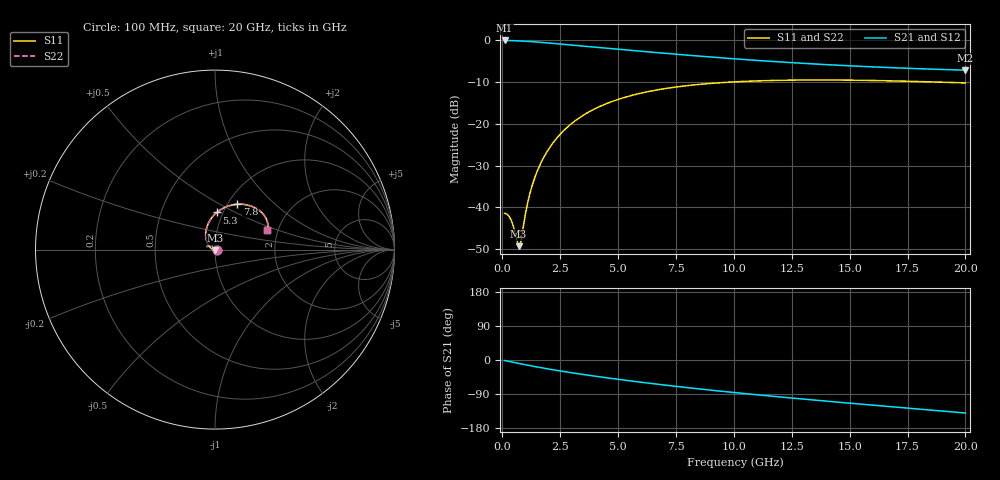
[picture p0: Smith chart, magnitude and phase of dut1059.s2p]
! Touchstone file exported from HFSS 2024.1.0
!  File:  C:/UserFiles/LocalFiles/RDL_TSV_Batchsim/temp_RDL_TSV_1059_1780090363.aedt
!  Generated:  05:47:25 AM May 30, 2026
!  Design:  RDL_TSV
!  Project:  temp_RDL_TSV_1059_1780090363
!  Setup:  Setup1
!  Solution:  Sweep
! Variables:
!  dtsv = 7.1um
!  hbump = 3um
!  htsv = 89.68um
!  ldown = 273.42um
!  lrdl = 216.85um
!  p = 40
!  p1 = 56.28um
!  rhole = 10um
!  subl = 1687.66um
!  t = 450um
!  tdown = 3.49um
!  trdl = 3.53um
!  viad = 10um
!  wdown = 22.98um
!  wrdl = 27.62um
!  xbump = 18um
# GHz S MA R 50.000000
! Terminal data exported
! Port[1] = TM1_1_T1
! Port[2] = TM1_4_T1
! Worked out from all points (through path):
!   200 points, 100 MHz to 20 GHz, reference 50 ohm
!   highest |S21| = -0.08 dB at 100 MHz (marker M1); lowest = -7.2 dB at 20 GHz (marker M2)
!   group delay of S21, straight-line fit = 18.3 ps
!   lowest |S11| = -49.3 dB at 700 MHz (marker M3), VSWR 1.01, Z = 50 - j0.341 ohm
!   |S11| at or under -10 dB: start of sweep to 9.985 GHz; 18.58 GHz to end of sweep
!   |S22| runs from -49.3 to -9.5 dB; largest |S21 - S12| = 1e-14
!   S11 on the Smith chart (normalised r, x): 100 MHz: 1.02, -0.00; 5.3 GHz: 0.94, +0.40; 7.8 GHz: 1.11, +0.61; 20 GHz: 1.74, +0.43
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0.1  0.008481 -2.9  0.9911 -1.3  0.9911 -1.3  0.008481 -2.9
! Gamma 0 0 0 0
! Port Impedance 50 0 50 0
0.3  0.007764 -13.5  0.9886 -3.9  0.9886 -3.9  0.007766 -13.5
0.4  0.006866 -21.6  0.9869 -5.2  0.9869 -5.2  0.006869 -21.6
0.5  0.005671 -32.9  0.9848 -6.4  0.9848 -6.4  0.005675 -32.9
0.7  0.003428 -83.6  0.9798 -8.9  0.9798 -8.9  0.003433 -83.5
0.8  0.003842 -126.3  0.9768 -10.1  0.9768 -10.1  0.003842 -126.1
1  0.008366 -170.3  0.9699 -12.6  0.9699 -12.6  0.008357 -170.3
1.2  0.0149 173.0  0.9621 -14.9  0.9621 -14.9  0.01489 173.0
1.4  0.02253 162.9  0.9534 -17.3  0.9534 -17.3  0.02251 162.9
1.7  0.03543 151.9  0.9393 -20.6  0.9393 -20.6  0.0354 152.0
2.1  0.05452 140.6  0.9192 -24.9  0.9192 -24.9  0.05448 140.6
2.5  0.07485 131.1  0.8986 -28.9  0.8986 -28.9  0.07479 131.2
3  0.1008 120.9  0.873 -33.7  0.873 -33.7  0.1007 121.0
3.5  0.1264 112.1  0.848 -38.3  0.848 -38.3  0.1263 112.1
4.3  0.1649 99.8  0.8099 -45.2  0.8099 -45.2  0.1649 99.9
5.3  0.2072 87.2  0.7652 -53.3  0.7652 -53.3  0.2071 87.2
6.8  0.2569 72.1  0.7043 -64.6  0.7043 -64.6  0.2568 72.1
7.8  0.2816 63.8  0.6677 -71.6  0.6677 -71.6  0.2815 63.9
10.1  0.3174 49.0  0.5956 -86.4  0.5956 -86.4  0.3174 49.0
13.4  0.3337 34.5  0.5197 -105.3  0.5197 -105.3  0.3336 34.5
16.7  0.3261 25.5  0.4695 -122.8  0.4695 -122.8  0.3261 25.5
20  0.3077 21.1  0.4369 -139.9  0.4369 -139.9  0.3078 21.0
